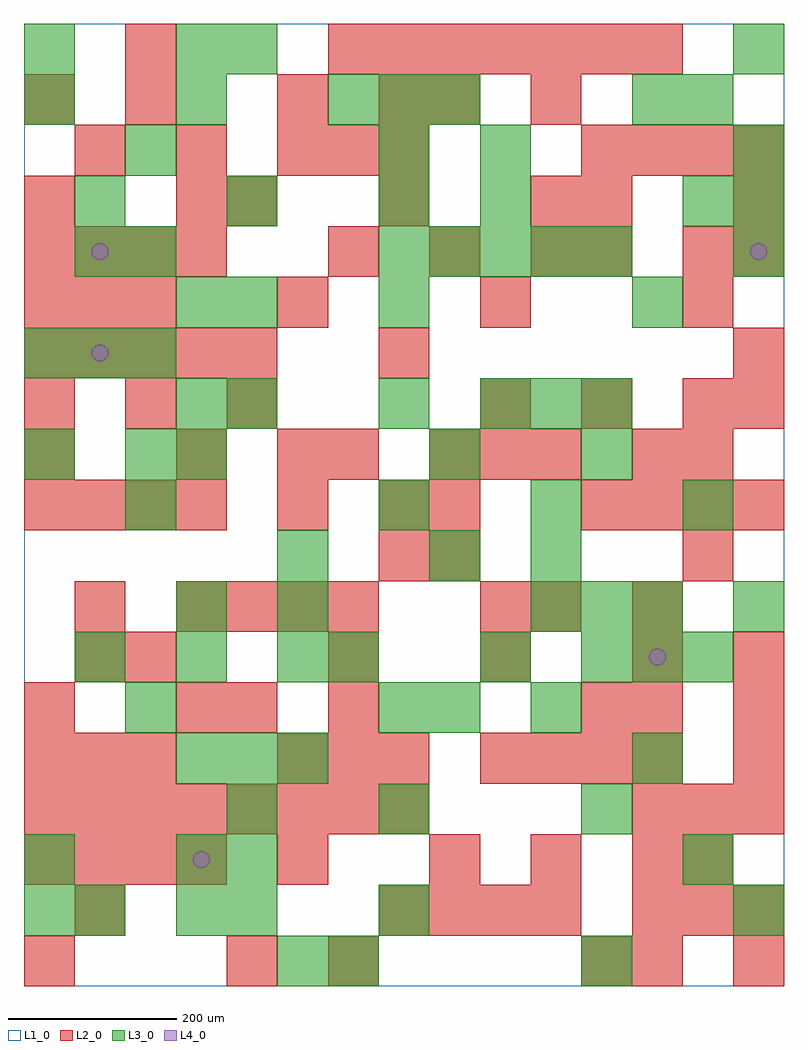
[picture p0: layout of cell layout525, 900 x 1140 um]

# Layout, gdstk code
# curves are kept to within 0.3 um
import gdstk
lib = gdstk.Library(unit=1e-6, precision=1e-09)
def R(c, l, rs):  # rectangles x0, y0, x1, y1
    for r in rs: c.add(gdstk.rectangle(r[:2], r[2:], *l))
def A(c, l, x, y, w, h, nx, ny, dx, dy):  # array of equal rectangles
    R(c, l, [(x+i*dx, y+j*dy, x+i*dx+w, y+j*dy+h) for i in range(nx) for j in range(ny)])
def P(c, l, *ps):  # polygons
    for p in ps: c.add(gdstk.Polygon(p, *l))
L1_0 = (1, 0)
L2_0 = (2, 0)
L3_0 = (3, 0)
L4_0 = (4, 0)

layout525 = lib.new_cell('layout525')
R(layout525, L1_0, [(0,0,900,1140)])
A(layout525, L2_0, 0, 0, 60, 60, 1, 4, 0, 300)
A(layout525, L2_0, 360, 0, 60, 60, 1, 3, 0, 300)
A(layout525, L2_0, 420, 60, 60, 60, 4, 1, 60, 0)
A(layout525, L2_0, 720, 60, 60, 60, 3, 2, 60, 120)
A(layout525, L2_0, 0, 120, 60, 60, 4, 2, 60, 420)
A(layout525, L2_0, 480, 120, 60, 60, 3, 1, 120, 0)
A(layout525, L2_0, 0, 180, 60, 60, 8, 1, 60, 0)
A(layout525, L2_0, 0, 240, 60, 60, 3, 2, 60, 540)
A(layout525, L2_0, 300, 240, 60, 60, 3, 1, 60, 0)
A(layout525, L2_0, 540, 240, 60, 60, 4, 1, 60, 0)
A(layout525, L2_0, 840, 240, 60, 60, 1, 3, 0, 60)
A(layout525, L2_0, 180, 300, 60, 60, 1, 3, 0, 300)
A(layout525, L2_0, 360, 360, 60, 60, 3, 1, 180, 0)
A(layout525, L2_0, 180, 420, 60, 60, 4, 1, 60, 0)
A(layout525, L2_0, 660, 540, 60, 60, 4, 2, 60, 420)
A(layout525, L2_0, 480, 600, 60, 60, 3, 1, 60, 0)
A(layout525, L2_0, 0, 660, 60, 60, 3, 1, 120, 0)
A(layout525, L2_0, 540, 660, 60, 60, 3, 1, 120, 0)
A(layout525, L2_0, 0, 720, 60, 60, 5, 1, 60, 0)
A(layout525, L2_0, 300, 780, 60, 60, 3, 1, 240, 0)
A(layout525, L2_0, 0, 840, 60, 60, 4, 1, 60, 0)
A(layout525, L2_0, 360, 840, 60, 60, 3, 1, 120, 0)
A(layout525, L2_0, 240, 900, 60, 60, 3, 1, 180, 0)
A(layout525, L2_0, 60, 960, 60, 60, 3, 1, 120, 0)
A(layout525, L2_0, 360, 1080, 60, 60, 7, 1, 60, 0)
R(layout525, L2_0, [(240,0,300,60), (660,0,720,60), (720,0,780,60), (840,0,900,60), (60,60,120,120), (300,120,360,180), (780,120,840,180), (240,300,300,360), (660,300,720,360), (720,300,780,360), (60,360,120,420), (120,360,180,420), (60,420,120,480), (540,420,600,480), (600,420,660,480), (720,420,780,480), (420,480,480,540), (480,480,540,540), (780,480,840,540), (300,540,360,600), (420,540,480,600), (480,540,540,600), (300,600,360,660), (720,600,780,660), (780,600,840,660), (840,660,900,720), (420,720,480,780), (840,720,900,780), (660,840,720,900), (780,840,840,900), (840,840,900,900), (660,900,720,960), (840,900,900,960), (360,960,420,1020), (420,960,480,1020), (0,1020,60,1080), (120,1020,180,1080), (300,1020,360,1080), (420,1020,480,1080), (480,1020,540,1080), (600,1020,660,1080), (120,1080,180,1140)])
A(layout525, L3_0, 240, 60, 60, 60, 1, 3, 0, 60)
A(layout525, L3_0, 420, 60, 60, 60, 1, 3, 0, 120)
A(layout525, L3_0, 0, 120, 60, 60, 1, 3, 0, 480)
A(layout525, L3_0, 180, 240, 60, 60, 3, 1, 60, 0)
A(layout525, L3_0, 60, 360, 60, 60, 3, 1, 120, 0)
A(layout525, L3_0, 660, 360, 60, 60, 3, 1, 60, 0)
A(layout525, L3_0, 600, 420, 60, 60, 3, 1, 60, 0)
A(layout525, L3_0, 420, 540, 60, 60, 3, 1, 180, 0)
A(layout525, L3_0, 540, 660, 60, 60, 3, 1, 60, 0)
A(layout525, L3_0, 0, 720, 60, 60, 3, 1, 60, 0)
A(layout525, L3_0, 420, 840, 60, 60, 5, 1, 60, 0)
A(layout525, L3_0, 840, 840, 60, 60, 1, 3, 0, 60)
A(layout525, L3_0, 60, 900, 60, 60, 3, 1, 180, 0)
A(layout525, L3_0, 0, 1020, 60, 60, 3, 1, 180, 0)
R(layout525, L3_0, [(300,0,360,60), (360,0,420,60), (660,0,720,60), (0,60,60,120), (60,60,120,120), (180,60,240,120), (840,60,900,120), (180,120,240,180), (780,120,840,180), (660,180,720,240), (720,240,780,300), (120,300,180,360), (480,300,540,360), (600,300,660,360), (360,360,420,420), (540,360,600,420), (180,420,240,480), (300,420,360,480), (840,420,900,480), (300,480,360,540), (480,480,540,540), (600,480,660,540), (120,540,180,600), (120,600,180,660), (180,600,240,660), (480,600,540,660), (660,600,720,660), (180,660,240,720), (240,660,300,720), (420,660,480,720), (180,780,240,840), (240,780,300,840), (420,780,480,840), (720,780,780,840), (60,840,120,900), (120,840,180,900), (540,900,600,960), (780,900,840,960), (120,960,180,1020), (420,960,480,1020), (540,960,600,1020), (420,1020,480,1080), (480,1020,540,1080), (720,1020,780,1080), (780,1020,840,1080), (180,1080,240,1140), (240,1080,300,1140), (840,1080,900,1140)])
P(layout525, L4_0, [(100,750),(99.239,753.827),(97.071,757.071),(93.827,759.239),(90,760),(86.173,759.239),(82.929,757.071),(80.761,753.827),(80,750),(80.761,746.173),(82.929,742.929),(86.173,740.761),(90,740),(93.827,740.761),(97.071,742.929),(99.239,746.173)],
  [(100,870),(99.239,873.827),(97.071,877.071),(93.827,879.239),(90,880),(86.173,879.239),(82.929,877.071),(80.761,873.827),(80,870),(80.761,866.173),(82.929,862.929),(86.173,860.761),(90,860),(93.827,860.761),(97.071,862.929),(99.239,866.173)],
  [(220,150),(219.239,153.827),(217.071,157.071),(213.827,159.239),(210,160),(206.173,159.239),(202.929,157.071),(200.761,153.827),(200,150),(200.761,146.173),(202.929,142.929),(206.173,140.761),(210,140),(213.827,140.761),(217.071,142.929),(219.239,146.173)],
  [(760,390),(759.239,393.827),(757.071,397.071),(753.827,399.239),(750,400),(746.173,399.239),(742.929,397.071),(740.761,393.827),(740,390),(740.761,386.173),(742.929,382.929),(746.173,380.761),(750,380),(753.827,380.761),(757.071,382.929),(759.239,386.173)],
  [(880,870),(879.239,873.827),(877.071,877.071),(873.827,879.239),(870,880),(866.173,879.239),(862.929,877.071),(860.761,873.827),(860,870),(860.761,866.173),(862.929,862.929),(866.173,860.761),(870,860),(873.827,860.761),(877.071,862.929),(879.239,866.173)])

lib.write_gds('layout525.gds')
